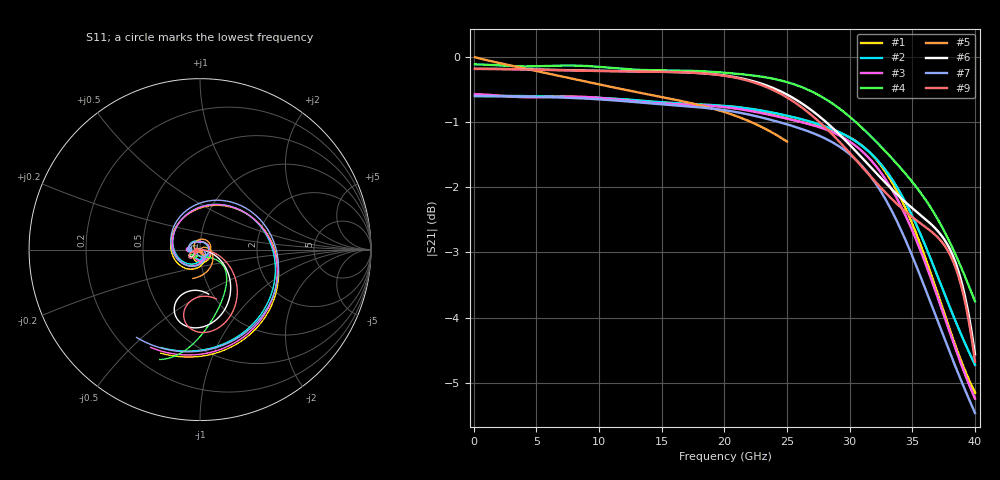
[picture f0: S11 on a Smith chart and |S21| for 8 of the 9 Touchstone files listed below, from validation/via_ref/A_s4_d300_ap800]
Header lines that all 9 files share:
# Hz S RI R 50
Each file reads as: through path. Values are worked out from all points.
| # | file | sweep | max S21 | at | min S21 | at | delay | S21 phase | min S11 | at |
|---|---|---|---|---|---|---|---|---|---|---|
| 1 | cst.s2p | 100 MHz to 40 GHz | -0.60 dB | 200 MHz | -5.2 dB | 40 GHz | 63.4 ps | -86 deg at 20.1 GHz | -43.5 dB | 20.6 GHz |
| 2 | cst_fine.s2p | 100 MHz to 40 GHz | -0.60 dB | 2.2 GHz | -4.7 dB | 40 GHz | 63.3 ps | -86 deg at 20.1 GHz | -45.0 dB | 20.9 GHz |
| 3 | kisi.s2p | 100 MHz to 40 GHz | -0.58 dB | 100 MHz | -5.2 dB | 40 GHz | 63.7 ps | -88 deg at 20.1 GHz | -44.9 dB | 20.5 GHz |
| 4 | kisi_deembedded.s2p | 100 MHz to 40 GHz | -0.12 dB | 100 MHz | -3.8 dB | 40 GHz | 13.3 ps | -87 deg at 20.1 GHz | -35.4 dB | 100 MHz |
| 5 | kisi_model.s2p | 100 MHz to 25 GHz | -0.01 dB | 100 MHz | -1.3 dB | 25 GHz | 60.6 ps | 89 deg at 12.6 GHz | -58.1 dB | 100 MHz |
| 6 | ladder.s2p | 100 MHz to 40 GHz | -0.19 dB | 100 MHz | -4.6 dB | 40 GHz | 16 ps | -91 deg at 20.1 GHz | -53.7 dB | 18.5 GHz |
| 7 | openems.s2p | 100 MHz to 40 GHz | -0.60 dB | 100 MHz | -5.5 dB | 40 GHz | 64.2 ps | -92 deg at 20.1 GHz | -52.3 dB | 19.4 GHz |
| 8 | openems_base.s2p | 100 MHz to 40 GHz | -0.60 dB | 100 MHz | -6.1 dB | 40 GHz | 64.4 ps | -92 deg at 20.1 GHz | -63.7 dB | 19 GHz |
| 9 | pbm.s2p | 100 MHz to 40 GHz | -0.19 dB | 100 MHz | -4.7 dB | 40 GHz | 15.4 ps | -86 deg at 20.1 GHz | -56.6 dB | 18.3 GHz |
